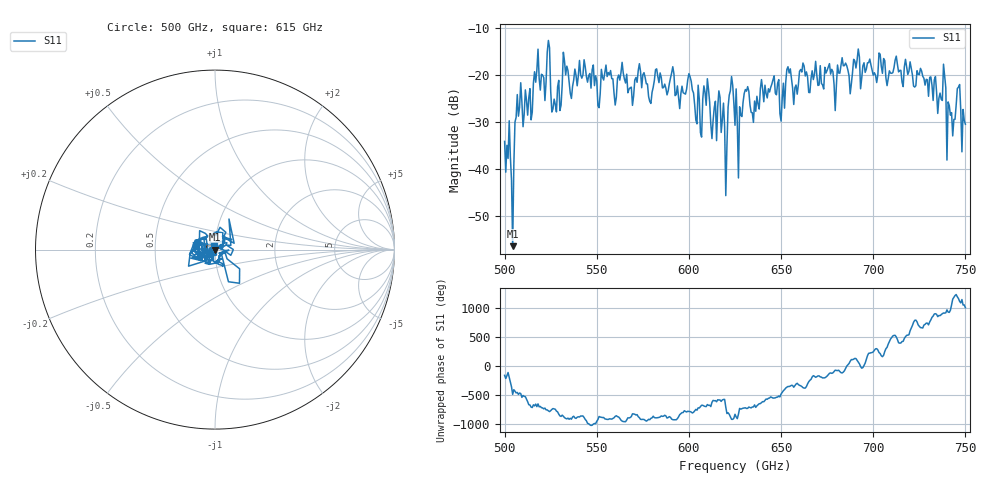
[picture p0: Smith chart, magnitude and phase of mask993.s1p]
!Created with skrf (http://scikit-rf.org).
# GHz S MA R 50.0
!freq magS11 angS11
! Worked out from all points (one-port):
!   401 points, 500 GHz to 750 GHz, reference 50 ohm
!   lowest |S11| = -56.3 dB at 504.4 GHz (marker M1), VSWR 1.00, Z = 49.9 - j0.117 ohm
!   |S11| at or under -10 dB: start of sweep to end of sweep
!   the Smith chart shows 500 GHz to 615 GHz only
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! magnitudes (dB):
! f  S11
! 500 GHz  -34.1
! 504.4 GHz  -56.3
! 508.1 GHz  -26.9
! 513.8 GHz  -22.9
! 516.9 GHz  -21.5
! 523.8 GHz  -12.7
! 526.9 GHz  -25.1
! 531.2 GHz  -22.1
! 562.5 GHz  -21.1
! 579.4 GHz  -26.1
! 590.6 GHz  -19.6
! 593.8 GHz  -22.3
! 600.6 GHz  -20.4
! 605.6 GHz  -25.2
! 609.4 GHz  -26.4
! 613.8 GHz  -26.9
! 617.5 GHz  -32.2
! 619.4 GHz  -31.0
! 622.5 GHz  -23.3
! 625 GHz  -30.7
! 627.5 GHz  -26.8
! 631.2 GHz  -23.4
! 635 GHz  -30.1
! 656.2 GHz  -22.8
! 687.5 GHz  -24.0
! 718.8 GHz  -19.9
! 746.2 GHz  -22.6
! 750 GHz  -30.5
